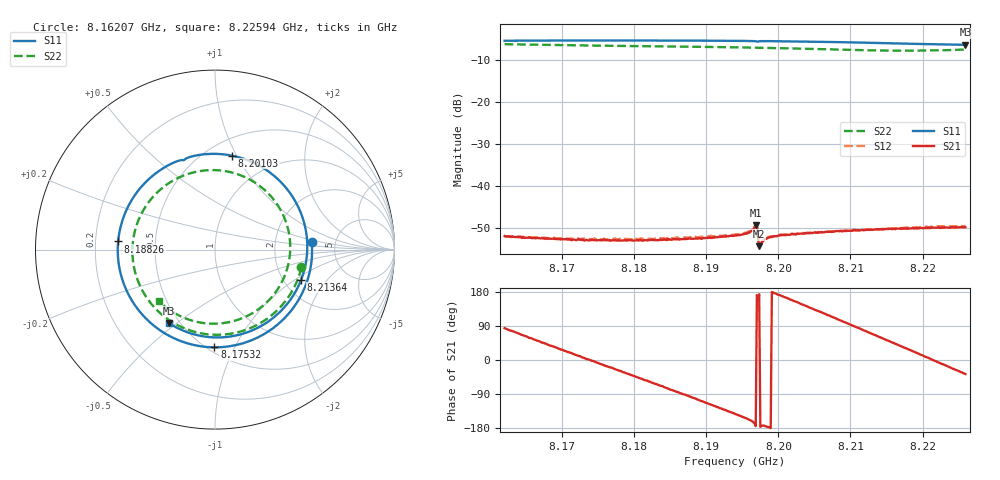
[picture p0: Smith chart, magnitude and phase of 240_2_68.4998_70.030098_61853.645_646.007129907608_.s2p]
#  HZ  S  RI  R  50.00
! Rohde & Schwarz Vector Network Analyzer
! Rohde-Schwarz,ZNB20-2Port,1311601062101988,3.16
! Created: UTC 3/20/2024, 4:59:19 PM
! freq[Hz]  re:S11  im:S11  re:S21  im:S21  re:S12  im:S12  re:S22  im:S22
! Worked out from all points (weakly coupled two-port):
!   401 points, 8.16207 GHz to 8.22594 GHz, reference 50 ohm
!   highest |S21| = -49.35 dB at 8.19688 GHz (marker M1); lowest = -54.3 dB at 8.19736 GHz (marker M2)
!   lowest |S11| = -6.3 dB at 8.22594 GHz (marker M3), VSWR 2.87, Z = 21.9 - j23.4 ohm
!   |S11| at or under -10 dB: nowhere
!   |S22| runs from -7.7 to -6.2 dB; largest |S21 - S12| = 0.00023
!   S11 on the Smith chart (normalised r, x): 8.16207 GHz: 3.30, +0.38; 8.17532 GHz: 0.54, -0.84; 8.18826 GHz: 0.30, +0.04; 8.20103 GHz: 0.66, +0.96; 8.21364 GHz: 2.49, -1.12; 8.22594 GHz: 0.44, -0.47
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8.16207e9  0.5388 0.0409  0.000264 0.00252  0.00025 0.00252  0.4817 -0.0981
8.16702e9  0.4663 -0.279  0.00159 0.00176  0.00158 0.00181  0.336 -0.3481
8.172768e9  0.1687 -0.5177  0.00226 0.000274  0.00233 0.000313  0.0345 -0.4741
8.175323e9  -0.00306 -0.5443  0.00221 -0.0004  0.00228 -0.000421  -0.1101 -0.4591
8.179155e9  -0.256 -0.4799  0.00181 -0.00133  0.00185 -0.00142  -0.3 -0.3585
8.183466e9  -0.4681 -0.2754  0.000895 -0.00207  0.000911 -0.00216  -0.4341 -0.161
8.188256e9  -0.5396 0.0457  -0.000405 -0.00232  -0.000504 -0.00241  -0.447 0.1013
8.190971e9  -0.4899 0.2282  -0.00121 -0.00211  -0.00129 -0.00217  -0.3874 0.239
8.194005e9  -0.3632 0.3978  -0.00203 -0.00157  -0.00214 -0.00154  -0.2711 0.3608
8.196879e9  -0.1857 0.4989  -0.00339 -0.00032  -0.00346 -0.000224  -0.1256 0.4287
8.197358e9  -0.1628 0.5067  -0.00191 0.000215  -0.0019 0.000282  -0.0994 0.4347
8.197677e9  -0.1403 0.516  -0.00208 -0.000217  -0.00211 -9.45e-05  -0.0818 0.4378
8.198635e9  -0.0727 0.5297  -0.00242 -0.000129  -0.00246 1.2e-05  -0.0277 0.4429
8.20103e9  0.0964 0.5231  -0.0025 0.000676  -0.00253 0.000812  0.107 0.426
8.204703e9  0.3284 0.4117  -0.00197 0.00192  -0.00194 0.002  0.2887 0.3209
8.209333e9  0.4998 0.1368  -0.000448 0.00287  -0.000391 0.00292  0.4138 0.0817
8.213644e9  0.4805 -0.1669  0.00134 0.00274  0.0014 0.00274  0.375 -0.1757
8.215401e9  0.4208 -0.2781  0.002 0.00235  0.00206 0.00234  0.3135 -0.2675
8.218275e9  0.2693 -0.4184  0.0028 0.00138  0.00293 0.00133  0.1657 -0.3763
8.22083e9  0.0969 -0.4823  0.00315 0.000292  0.00323 0.000186  0.00216 -0.4127
8.223225e9  -0.0758 -0.4815  0.00311 -0.000811  0.00316 -0.00096  -0.1558 -0.3867
8.225939e9  -0.2571 -0.409  0.00258 -0.00195  0.00257 -0.00212  -0.3119 -0.288
